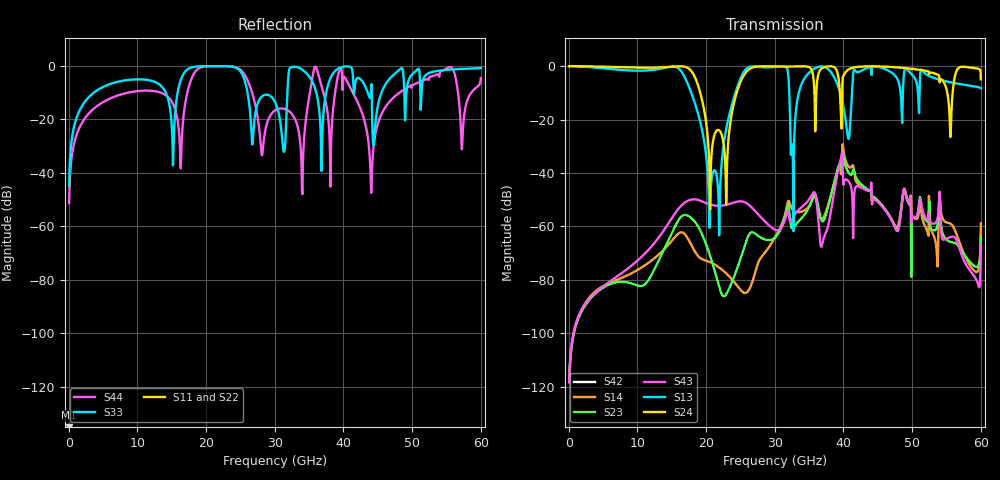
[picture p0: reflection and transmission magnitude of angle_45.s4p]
! TOUCHSTONE file generated by CST MICROWAVE STUDIO
! Date and time: Wed Jun 25 16:38:23 2025
! Project name: rogers4003c_air_gapped_wideband_balanced.cst
! Parameters = {h=3.4; lambda=10; period=5; phi=0; theta=45; thickness=0.508; w_mesh_1=2.2; w_mesh_2=2.2; w_patch_1=2; w_patch_2=2}
! Header version: 2018
! Port assignment regex: !\s*Touchstone port\s*([0-9]+)\s*=\s*(CST MWS port|CST DS port)\s*([0-9]+|Zmin|Zmax)\s*\(\"(.*)\"\)(\s*mode\s*([0-9]+))?.*
! Touchstone port assignment:
! Touchstone port 1 = CST MWS port Zmin ("") mode 1
! Touchstone port 2 = CST MWS port Zmin ("") mode 2
! Touchstone port 3 = CST MWS port Zmax ("") mode 1
! Touchstone port 4 = CST MWS port Zmax ("") mode 2
! S-Parameters are not renormalized. Unphysical impedance of 50 will be written to the file.
# GHz S RI R 50
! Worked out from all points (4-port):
!   1003 points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, 60 MHz to 60 GHz, reference per port
!   strongest paths, dB at 60 MHz, 15 GHz, 30 GHz, 45 GHz, 60 GHz:
!     S24: 0.0, -0.2, -0.1, -0.1, -4.9
!     S13: 0.0, -0.1, -0.3, -0.3, -8.2
!     S43: -118.4, -56.9, -61.2, -50.8, -66.7
!     S23: -118.3, -62.6, -64.3, -50.3, -64.1
!     S14: -117.1, -65.4, -64.2, -50.3, -58.8
!     S42: -, -, -, -, -
!   lowest |S11| = - dB at 60 MHz (marker M1), VSWR 1.00
!   |S11| at or under -10 dB: start of sweep to end of sweep
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0.06  0 0  0 0  1 -0.00568  -3.54e-07 1.34e-06
      0 0  0 0  -6.37e-08 1.21e-06  1 -0.00341
      0 0  0 0  -1.72e-05 -0.00571  -1.52e-07 1.13e-06
      0 0  0 0  -2.54e-07 1.17e-06  -7.46e-06 -0.00272
16.02  0 0  0 0  -0.4609 -0.7766  0.000176 -0.000721
       0 0  0 0  0.0013 0.000264  0.3027 -0.9456
       0 0  0 0  0.3382 -0.2199  -0.000284 0.00218
       0 0  0 0  0.000109 0.00217  -0.0579 -0.0295
20.58  0 0  0 0  0.00209 -0.00147  0.000197 -8.2e-05
       0 0  0 0  -0.000269 7.9e-05  -4.44e-05 -0.00204
       0 0  0 0  -0.3949 -0.915  0.00246 -0.000589
       0 0  0 0  0.00238 -0.000955  -0.2014 -0.9735
26.28  0 0  0 0  0.7347 0.6287  5.64e-05 -3.54e-05
       0 0  0 0  0.000598 -0.000386  0.5528 0.6829
       0 0  0 0  -0.1534 0.1181  -0.00157 -0.0022
       0 0  0 0  -0.00143 -0.00204  -0.3755 0.2571
40.02  0 0  0 0  -0.1133 -0.1241  0.0212 0.0137
       0 0  0 0  0.0158 0.0105  0.598 0.3045
       0 0  0 0  0.7167 -0.6622  -0.00947 0.00288
       0 0  0 0  -0.00591 0.00161  0.3042 -0.5476
44.04  0 0  0 0  0.6676 -0.5153  -0.00252 -0.00421
       0 0  0 0  -0.00329 -0.00404  0.76 -0.6402
       0 0  0 0  -0.2123 -0.3621  -9.25e-05 0.00338
       0 0  0 0  0.0043 0.00507  0.00357 -0.00222
60  0 0  0 0  0.0596 -0.3826  0.00109 0.000351
    0 0  0 0  -8.51e-05 -0.000616  0.1628 -0.5449
    0 0  0 0  0.9087 0.1346  -0.00104 -0.000237
    0 0  0 0  -4.58e-05 0.000462  0.5901 -0.103
